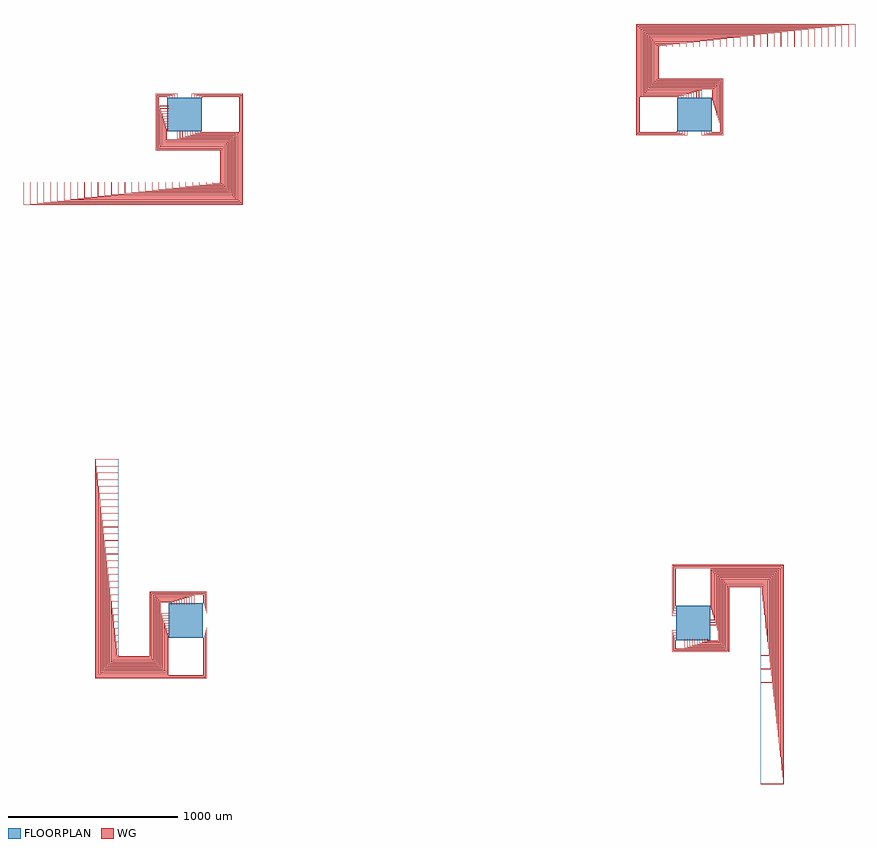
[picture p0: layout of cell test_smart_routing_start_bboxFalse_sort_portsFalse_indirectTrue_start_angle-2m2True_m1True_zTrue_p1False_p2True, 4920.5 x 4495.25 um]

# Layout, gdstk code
import gdstk
lib = gdstk.Library(unit=1e-6, precision=1e-09)
def R(c, l, rs):  # rectangles x0, y0, x1, y1
    for r in rs: c.add(gdstk.rectangle(r[:2], r[2:], *l))
def P(c, l, *ps):  # polygons
    for p in ps: c.add(gdstk.Polygon(p, *l))
WG = (1, 0)
FLOORPLAN = (10, 0)

test_smart_routing_start = lib.new_cell('test_smart_routing_start_bboxFalse_sort_portsFalse_indirectTrue_start_angle-2m2True_m1True_zTrue_p1False_p2True')
P(test_smart_routing_start, WG, [(3049.75,2877.5),(3049.75,2900),(3050.25,2900),(3050.25,2878),(3177.25,2878),(3177.25,3212),(2795.25,3212),(2795.25,3404.5),(2800.25,3404.5),(2800.25,3400),(2799.75,3400),(2799.75,3404),(2795.75,3404),(2795.75,3212.5),(3177.75,3212.5),(3177.75,2877.5)],
  [(3064.75,2882),(3064.75,2900),(3065.25,2900),(3065.25,2882.5),(3172.75,2882.5),(3172.75,3207.5),(2790.75,3207.5),(2790.75,3409),(2840.25,3409),(2840.25,3400),(2839.75,3400),(2839.75,3408.5),(2791.25,3408.5),(2791.25,3208),(3173.25,3208),(3173.25,2882)],
  [(3079.75,2886.5),(3079.75,2900),(3080.25,2900),(3080.25,2887),(3168.25,2887),(3168.25,3203),(2786.25,3203),(2786.25,3413.5),(2880.25,3413.5),(2880.25,3400),(2879.75,3400),(2879.75,3413),(2786.75,3413),(2786.75,3203.5),(3168.75,3203.5),(3168.75,2886.5)],
  [(3094.75,2891),(3094.75,2900),(3095.25,2900),(3095.25,2891.5),(3163.75,2891.5),(3163.75,3198.5),(2781.75,3198.5),(2781.75,3418),(2920.25,3418),(2920.25,3400),(2919.75,3400),(2919.75,3417.5),(2782.25,3417.5),(2782.25,3199),(3164.25,3199),(3164.25,2891)],
  [(3109.75,2895.5),(3109.75,2900),(3110.25,2900),(3110.25,2896),(3159.25,2896),(3159.25,3194),(2777.25,3194),(2777.25,3422.5),(2960.25,3422.5),(2960.25,3400),(2959.75,3400),(2959.75,3422),(2777.75,3422),(2777.75,3194.5),(3159.75,3194.5),(3159.75,2895.5)],
  [(3100,2949.75),(3100,2950.25),(3154.75,2950.25),(3154.75,3189.5),(2772.75,3189.5),(2772.75,3427),(3000.25,3427),(3000.25,3400),(2999.75,3400),(2999.75,3426.5),(2773.25,3426.5),(2773.25,3190),(3155.25,3190),(3155.25,2949.75)],
  [(3100,2964.75),(3100,2965.25),(3150.25,2965.25),(3150.25,3185),(2768.25,3185),(2768.25,3431.5),(3040.25,3431.5),(3040.25,3400),(3039.75,3400),(3039.75,3431),(2768.75,3431),(2768.75,3185.5),(3150.75,3185.5),(3150.75,2964.75)],
  [(3100,2979.75),(3100,2980.25),(3145.75,2980.25),(3145.75,3180.5),(2763.75,3180.5),(2763.75,3436),(3080.25,3436),(3080.25,3400),(3079.75,3400),(3079.75,3435.5),(2764.25,3435.5),(2764.25,3181),(3146.25,3181),(3146.25,2979.75)],
  [(3100,2994.75),(3100,2995.25),(3141.25,2995.25),(3141.25,3176),(2759.25,3176),(2759.25,3440.5),(3120.25,3440.5),(3120.25,3400),(3119.75,3400),(3119.75,3440),(2759.75,3440),(2759.75,3176.5),(3141.75,3176.5),(3141.75,2994.75)],
  [(3100,3009.75),(3100,3010.25),(3136.75,3010.25),(3136.75,3171.5),(2754.75,3171.5),(2754.75,3445),(3160.25,3445),(3160.25,3400),(3159.75,3400),(3159.75,3444.5),(2755.25,3444.5),(2755.25,3172),(3137.25,3172),(3137.25,3009.75)],
  [(3100,3024.75),(3100,3025.25),(3132.25,3025.25),(3132.25,3167),(2750.25,3167),(2750.25,3449.5),(3200.25,3449.5),(3200.25,3400),(3199.75,3400),(3199.75,3449),(2750.75,3449),(2750.75,3167.5),(3132.75,3167.5),(3132.75,3024.75)],
  [(3100,3039.75),(3100,3040.25),(3127.75,3040.25),(3127.75,3162.5),(2745.75,3162.5),(2745.75,3454),(3240.25,3454),(3240.25,3400),(3239.75,3400),(3239.75,3453.5),(2746.25,3453.5),(2746.25,3163),(3128.25,3163),(3128.25,3039.75)],
  [(3100,3054.75),(3100,3055.25),(3123.25,3055.25),(3123.25,3158),(2741.25,3158),(2741.25,3458.5),(3280.25,3458.5),(3280.25,3400),(3279.75,3400),(3279.75,3458),(2741.75,3458),(2741.75,3158.5),(3123.75,3158.5),(3123.75,3054.75)],
  [(3100,3069.75),(3100,3070.25),(3118.75,3070.25),(3118.75,3153.5),(2736.75,3153.5),(2736.75,3463),(3320.25,3463),(3320.25,3400),(3319.75,3400),(3319.75,3462.5),(2737.25,3462.5),(2737.25,3154),(3119.25,3154),(3119.25,3069.75)],
  [(3100,3084.75),(3100,3085.25),(3114.25,3085.25),(3114.25,3149),(2732.25,3149),(2732.25,3467.5),(3360.25,3467.5),(3360.25,3400),(3359.75,3400),(3359.75,3467),(2732.75,3467),(2732.75,3149.5),(3114.75,3149.5),(3114.75,3084.75)],
  [(3049.75,3100),(3049.75,3144.5),(2727.75,3144.5),(2727.75,3472),(3400.25,3472),(3400.25,3400),(3399.75,3400),(3399.75,3471.5),(2728.25,3471.5),(2728.25,3145),(3050.25,3145),(3050.25,3100)],
  [(3034.75,3100),(3034.75,3140),(2723.25,3140),(2723.25,3476.5),(3440.25,3476.5),(3440.25,3400),(3439.75,3400),(3439.75,3476),(2723.75,3476),(2723.75,3140.5),(3035.25,3140.5),(3035.25,3100)],
  [(3019.75,3100),(3019.75,3135.5),(2718.75,3135.5),(2718.75,3481),(3480.25,3481),(3480.25,3400),(3479.75,3400),(3479.75,3480.5),(2719.25,3480.5),(2719.25,3136),(3020.25,3136),(3020.25,3100)],
  [(3004.75,3100),(3004.75,3131),(2714.25,3131),(2714.25,3485.5),(3520.25,3485.5),(3520.25,3400),(3519.75,3400),(3519.75,3485),(2714.75,3485),(2714.75,3131.5),(3005.25,3131.5),(3005.25,3100)],
  [(2989.75,3100),(2989.75,3126.5),(2709.75,3126.5),(2709.75,3490),(3560.25,3490),(3560.25,3400),(3559.75,3400),(3559.75,3489.5),(2710.25,3489.5),(2710.25,3127),(2990.25,3127),(2990.25,3100)],
  [(2974.75,3100),(2974.75,3122),(2705.25,3122),(2705.25,3494.5),(3600.25,3494.5),(3600.25,3400),(3599.75,3400),(3599.75,3494),(2705.75,3494),(2705.75,3122.5),(2975.25,3122.5),(2975.25,3100)],
  [(2959.75,3100),(2959.75,3117.5),(2700.75,3117.5),(2700.75,3499),(3640.25,3499),(3640.25,3400),(3639.75,3400),(3639.75,3498.5),(2701.25,3498.5),(2701.25,3118),(2960.25,3118),(2960.25,3100)],
  [(2944.75,3100),(2944.75,3113),(2696.25,3113),(2696.25,3503.5),(3680.25,3503.5),(3680.25,3400),(3679.75,3400),(3679.75,3503),(2696.75,3503),(2696.75,3113.5),(2945.25,3113.5),(2945.25,3100)],
  [(2929.75,3100),(2929.75,3108.5),(2691.75,3108.5),(2691.75,3508),(3720.25,3508),(3720.25,3400),(3719.75,3400),(3719.75,3507.5),(2692.25,3507.5),(2692.25,3109),(2930.25,3109),(2930.25,3100)],
  [(2914.75,3100),(2914.75,3104),(2687.25,3104),(2687.25,3512.5),(3760.25,3512.5),(3760.25,3400),(3759.75,3400),(3759.75,3512),(2687.75,3512),(2687.75,3104.5),(2915.25,3104.5),(2915.25,3100)],
  [(2664.75,2877.5),(2664.75,3535),(3960.25,3535),(3960.25,3400),(3959.75,3400),(3959.75,3534.5),(2665.25,3534.5),(2665.25,2878),(2964.75,2878),(2964.75,2900),(2965.25,2900),(2965.25,2877.5)],
  [(2669.25,2882),(2669.25,3530.5),(3920.25,3530.5),(3920.25,3400),(3919.75,3400),(3919.75,3530),(2669.75,3530),(2669.75,2882.5),(2949.75,2882.5),(2949.75,2900),(2950.25,2900),(2950.25,2882)],
  [(2673.75,2886.5),(2673.75,3526),(3880.25,3526),(3880.25,3400),(3879.75,3400),(3879.75,3525.5),(2674.25,3525.5),(2674.25,2887),(2934.75,2887),(2934.75,2900),(2935.25,2900),(2935.25,2886.5)],
  [(2678.25,2891),(2678.25,3521.5),(3840.25,3521.5),(3840.25,3400),(3839.75,3400),(3839.75,3521),(2678.75,3521),(2678.75,2891.5),(2919.75,2891.5),(2919.75,2900),(2920.25,2900),(2920.25,2891)],
  [(2682.75,2895.5),(2682.75,3517),(3800.25,3517),(3800.25,3400),(3799.75,3400),(3799.75,3516.5),(2683.25,3516.5),(2683.25,2896),(2904.75,2896),(2904.75,2900),(2905.25,2900),(2905.25,2895.5)],
  [(199.75,2595.5),(199.75,2600),(200.25,2600),(200.25,2596),(204.25,2596),(204.25,2787.5),(-177.75,2787.5),(-177.75,3122.5),(-49.75,3122.5),(-49.75,3100),(-50.25,3100),(-50.25,3122),(-177.25,3122),(-177.25,2788),(204.75,2788),(204.75,2595.5)],
  [(159.75,2591),(159.75,2600),(160.25,2600),(160.25,2591.5),(208.75,2591.5),(208.75,2792),(-173.25,2792),(-173.25,3118),(-64.75,3118),(-64.75,3100),(-65.25,3100),(-65.25,3117.5),(-172.75,3117.5),(-172.75,2792.5),(209.25,2792.5),(209.25,2591)],
  [(119.75,2586.5),(119.75,2600),(120.25,2600),(120.25,2587),(213.25,2587),(213.25,2796.5),(-168.75,2796.5),(-168.75,3113.5),(-79.75,3113.5),(-79.75,3100),(-80.25,3100),(-80.25,3113),(-168.25,3113),(-168.25,2797),(213.75,2797),(213.75,2586.5)],
  [(79.75,2582),(79.75,2600),(80.25,2600),(80.25,2582.5),(217.75,2582.5),(217.75,2801),(-164.25,2801),(-164.25,3109),(-94.75,3109),(-94.75,3100),(-95.25,3100),(-95.25,3108.5),(-163.75,3108.5),(-163.75,2801.5),(218.25,2801.5),(218.25,2582)],
  [(39.75,2577.5),(39.75,2600),(40.25,2600),(40.25,2578),(222.25,2578),(222.25,2805.5),(-159.75,2805.5),(-159.75,3104.5),(-109.75,3104.5),(-109.75,3100),(-110.25,3100),(-110.25,3104),(-159.25,3104),(-159.25,2806),(222.75,2806),(222.75,2577.5)],
  [(-0.25,2573),(-0.25,2600),(0.25,2600),(0.25,2573.5),(226.75,2573.5),(226.75,2810),(-155.25,2810),(-155.25,3050.25),(-100,3050.25),(-100,3049.75),(-154.75,3049.75),(-154.75,2810.5),(227.25,2810.5),(227.25,2573)],
  [(-40.25,2568.5),(-40.25,2600),(-39.75,2600),(-39.75,2569),(231.25,2569),(231.25,2814.5),(-150.75,2814.5),(-150.75,3035.25),(-100,3035.25),(-100,3034.75),(-150.25,3034.75),(-150.25,2815),(231.75,2815),(231.75,2568.5)],
  [(-80.25,2564),(-80.25,2600),(-79.75,2600),(-79.75,2564.5),(235.75,2564.5),(235.75,2819),(-146.25,2819),(-146.25,3020.25),(-100,3020.25),(-100,3019.75),(-145.75,3019.75),(-145.75,2819.5),(236.25,2819.5),(236.25,2564)],
  [(-120.25,2559.5),(-120.25,2600),(-119.75,2600),(-119.75,2560),(240.25,2560),(240.25,2823.5),(-141.75,2823.5),(-141.75,3005.25),(-100,3005.25),(-100,3004.75),(-141.25,3004.75),(-141.25,2824),(240.75,2824),(240.75,2559.5)],
  [(-160.25,2555),(-160.25,2600),(-159.75,2600),(-159.75,2555.5),(244.75,2555.5),(244.75,2828),(-137.25,2828),(-137.25,2990.25),(-100,2990.25),(-100,2989.75),(-136.75,2989.75),(-136.75,2828.5),(245.25,2828.5),(245.25,2555)],
  [(-200.25,2550.5),(-200.25,2600),(-199.75,2600),(-199.75,2551),(249.25,2551),(249.25,2832.5),(-132.75,2832.5),(-132.75,2975.25),(-100,2975.25),(-100,2974.75),(-132.25,2974.75),(-132.25,2833),(249.75,2833),(249.75,2550.5)],
  [(-240.25,2546),(-240.25,2600),(-239.75,2600),(-239.75,2546.5),(253.75,2546.5),(253.75,2837),(-128.25,2837),(-128.25,2960.25),(-100,2960.25),(-100,2959.75),(-127.75,2959.75),(-127.75,2837.5),(254.25,2837.5),(254.25,2546)],
  [(-280.25,2541.5),(-280.25,2600),(-279.75,2600),(-279.75,2542),(258.25,2542),(258.25,2841.5),(-123.75,2841.5),(-123.75,2945.25),(-100,2945.25),(-100,2944.75),(-123.25,2944.75),(-123.25,2842),(258.75,2842),(258.75,2541.5)],
  [(-320.25,2537),(-320.25,2600),(-319.75,2600),(-319.75,2537.5),(262.75,2537.5),(262.75,2846),(-119.25,2846),(-119.25,2930.25),(-100,2930.25),(-100,2929.75),(-118.75,2929.75),(-118.75,2846.5),(263.25,2846.5),(263.25,2537)],
  [(-360.25,2532.5),(-360.25,2600),(-359.75,2600),(-359.75,2533),(267.25,2533),(267.25,2850.5),(-114.75,2850.5),(-114.75,2915.25),(-100,2915.25),(-100,2914.75),(-114.25,2914.75),(-114.25,2851),(267.75,2851),(267.75,2532.5)],
  [(-400.25,2528),(-400.25,2600),(-399.75,2600),(-399.75,2528.5),(271.75,2528.5),(271.75,2855),(-50.25,2855),(-50.25,2900),(-49.75,2900),(-49.75,2855.5),(272.25,2855.5),(272.25,2528)],
  [(-440.25,2523.5),(-440.25,2600),(-439.75,2600),(-439.75,2524),(276.25,2524),(276.25,2859.5),(-35.25,2859.5),(-35.25,2900),(-34.75,2900),(-34.75,2860),(276.75,2860),(276.75,2523.5)],
  [(-480.25,2519),(-480.25,2600),(-479.75,2600),(-479.75,2519.5),(280.75,2519.5),(280.75,2864),(-20.25,2864),(-20.25,2900),(-19.75,2900),(-19.75,2864.5),(281.25,2864.5),(281.25,2519)],
  [(-520.25,2514.5),(-520.25,2600),(-519.75,2600),(-519.75,2515),(285.25,2515),(285.25,2868.5),(-5.25,2868.5),(-5.25,2900),(-4.75,2900),(-4.75,2869),(285.75,2869),(285.75,2514.5)],
  [(-560.25,2510),(-560.25,2600),(-559.75,2600),(-559.75,2510.5),(289.75,2510.5),(289.75,2873),(9.75,2873),(9.75,2900),(10.25,2900),(10.25,2873.5),(290.25,2873.5),(290.25,2510)],
  [(-600.25,2505.5),(-600.25,2600),(-599.75,2600),(-599.75,2506),(294.25,2506),(294.25,2877.5),(24.75,2877.5),(24.75,2900),(25.25,2900),(25.25,2878),(294.75,2878),(294.75,2505.5)],
  [(-640.25,2501),(-640.25,2600),(-639.75,2600),(-639.75,2501.5),(298.75,2501.5),(298.75,2882),(39.75,2882),(39.75,2900),(40.25,2900),(40.25,2882.5),(299.25,2882.5),(299.25,2501)],
  [(-680.25,2496.5),(-680.25,2600),(-679.75,2600),(-679.75,2497),(303.25,2497),(303.25,2886.5),(54.75,2886.5),(54.75,2900),(55.25,2900),(55.25,2887),(303.75,2887),(303.75,2496.5)],
  [(-720.25,2492),(-720.25,2600),(-719.75,2600),(-719.75,2492.5),(307.75,2492.5),(307.75,2891),(69.75,2891),(69.75,2900),(70.25,2900),(70.25,2891.5),(308.25,2891.5),(308.25,2492)],
  [(-760.25,2487.5),(-760.25,2600),(-759.75,2600),(-759.75,2488),(312.25,2488),(312.25,2895.5),(84.75,2895.5),(84.75,2900),(85.25,2900),(85.25,2896),(312.75,2896),(312.75,2487.5)],
  [(-960.25,2465),(-960.25,2600),(-959.75,2600),(-959.75,2465.5),(334.75,2465.5),(334.75,3122),(35.25,3122),(35.25,3100),(34.75,3100),(34.75,3122.5),(335.25,3122.5),(335.25,2465)],
  [(-920.25,2469.5),(-920.25,2600),(-919.75,2600),(-919.75,2470),(330.25,2470),(330.25,3117.5),(50.25,3117.5),(50.25,3100),(49.75,3100),(49.75,3118),(330.75,3118),(330.75,2469.5)],
  [(-880.25,2474),(-880.25,2600),(-879.75,2600),(-879.75,2474.5),(325.75,2474.5),(325.75,3113),(65.25,3113),(65.25,3100),(64.75,3100),(64.75,3113.5),(326.25,3113.5),(326.25,2474)],
  [(-840.25,2478.5),(-840.25,2600),(-839.75,2600),(-839.75,2479),(321.25,2479),(321.25,3108.5),(80.25,3108.5),(80.25,3100),(79.75,3100),(79.75,3109),(321.75,3109),(321.75,2478.5)],
  [(-800.25,2483),(-800.25,2600),(-799.75,2600),(-799.75,2483.5),(316.75,2483.5),(316.75,3104),(95.25,3104),(95.25,3100),(94.75,3100),(94.75,3104.5),(317.25,3104.5),(317.25,2483)],
  [(-404.5,-204.75),(-404.5,-199.75),(-400,-199.75),(-400,-200.25),(-404,-200.25),(-404,-204.25),(-212.5,-204.25),(-212.5,177.75),(122.5,177.75),(122.5,49.75),(100,49.75),(100,50.25),(122,50.25),(122,177.25),(-212,177.25),(-212,-204.75)],
  [(-409,-209.25),(-409,-159.75),(-400,-159.75),(-400,-160.25),(-408.5,-160.25),(-408.5,-208.75),(-208,-208.75),(-208,173.25),(118,173.25),(118,64.75),(100,64.75),(100,65.25),(117.5,65.25),(117.5,172.75),(-207.5,172.75),(-207.5,-209.25)],
  [(-413.5,-213.75),(-413.5,-119.75),(-400,-119.75),(-400,-120.25),(-413,-120.25),(-413,-213.25),(-203.5,-213.25),(-203.5,168.75),(113.5,168.75),(113.5,79.75),(100,79.75),(100,80.25),(113,80.25),(113,168.25),(-203,168.25),(-203,-213.75)],
  [(-418,-218.25),(-418,-79.75),(-400,-79.75),(-400,-80.25),(-417.5,-80.25),(-417.5,-217.75),(-199,-217.75),(-199,164.25),(109,164.25),(109,94.75),(100,94.75),(100,95.25),(108.5,95.25),(108.5,163.75),(-198.5,163.75),(-198.5,-218.25)],
  [(-422.5,-222.75),(-422.5,-39.75),(-400,-39.75),(-400,-40.25),(-422,-40.25),(-422,-222.25),(-194.5,-222.25),(-194.5,159.75),(104.5,159.75),(104.5,109.75),(100,109.75),(100,110.25),(104,110.25),(104,159.25),(-194,159.25),(-194,-222.75)],
  [(-427,-227.25),(-427,0.25),(-400,0.25),(-400,-0.25),(-426.5,-0.25),(-426.5,-226.75),(-190,-226.75),(-190,155.25),(50.25,155.25),(50.25,100),(49.75,100),(49.75,154.75),(-189.5,154.75),(-189.5,-227.25)],
  [(-431.5,-231.75),(-431.5,40.25),(-400,40.25),(-400,39.75),(-431,39.75),(-431,-231.25),(-185.5,-231.25),(-185.5,150.75),(35.25,150.75),(35.25,100),(34.75,100),(34.75,150.25),(-185,150.25),(-185,-231.75)],
  [(-436,-236.25),(-436,80.25),(-400,80.25),(-400,79.75),(-435.5,79.75),(-435.5,-235.75),(-181,-235.75),(-181,146.25),(20.25,146.25),(20.25,100),(19.75,100),(19.75,145.75),(-180.5,145.75),(-180.5,-236.25)],
  [(-440.5,-240.75),(-440.5,120.25),(-400,120.25),(-400,119.75),(-440,119.75),(-440,-240.25),(-176.5,-240.25),(-176.5,141.75),(5.25,141.75),(5.25,100),(4.75,100),(4.75,141.25),(-176,141.25),(-176,-240.75)],
  [(-445,-245.25),(-445,160.25),(-400,160.25),(-400,159.75),(-444.5,159.75),(-444.5,-244.75),(-172,-244.75),(-172,137.25),(-9.75,137.25),(-9.75,100),(-10.25,100),(-10.25,136.75),(-171.5,136.75),(-171.5,-245.25)],
  [(-449.5,-249.75),(-449.5,200.25),(-400,200.25),(-400,199.75),(-449,199.75),(-449,-249.25),(-167.5,-249.25),(-167.5,132.75),(-24.75,132.75),(-24.75,100),(-25.25,100),(-25.25,132.25),(-167,132.25),(-167,-249.75)],
  [(-454,-254.25),(-454,240.25),(-400,240.25),(-400,239.75),(-453.5,239.75),(-453.5,-253.75),(-163,-253.75),(-163,128.25),(-39.75,128.25),(-39.75,100),(-40.25,100),(-40.25,127.75),(-162.5,127.75),(-162.5,-254.25)],
  [(-458.5,-258.75),(-458.5,280.25),(-400,280.25),(-400,279.75),(-458,279.75),(-458,-258.25),(-158.5,-258.25),(-158.5,123.75),(-54.75,123.75),(-54.75,100),(-55.25,100),(-55.25,123.25),(-158,123.25),(-158,-258.75)],
  [(-463,-263.25),(-463,320.25),(-400,320.25),(-400,319.75),(-462.5,319.75),(-462.5,-262.75),(-154,-262.75),(-154,119.25),(-69.75,119.25),(-69.75,100),(-70.25,100),(-70.25,118.75),(-153.5,118.75),(-153.5,-263.25)],
  [(-467.5,-267.75),(-467.5,360.25),(-400,360.25),(-400,359.75),(-467,359.75),(-467,-267.25),(-149.5,-267.25),(-149.5,114.75),(-84.75,114.75),(-84.75,100),(-85.25,100),(-85.25,114.25),(-149,114.25),(-149,-267.75)],
  [(-472,-272.25),(-472,400.25),(-400,400.25),(-400,399.75),(-471.5,399.75),(-471.5,-271.75),(-145,-271.75),(-145,50.25),(-100,50.25),(-100,49.75),(-144.5,49.75),(-144.5,-272.25)],
  [(-476.5,-276.75),(-476.5,440.25),(-400,440.25),(-400,439.75),(-476,439.75),(-476,-276.25),(-140.5,-276.25),(-140.5,35.25),(-100,35.25),(-100,34.75),(-140,34.75),(-140,-276.75)],
  [(-481,-281.25),(-481,480.25),(-400,480.25),(-400,479.75),(-480.5,479.75),(-480.5,-280.75),(-136,-280.75),(-136,20.25),(-100,20.25),(-100,19.75),(-135.5,19.75),(-135.5,-281.25)],
  [(-485.5,-285.75),(-485.5,520.25),(-400,520.25),(-400,519.75),(-485,519.75),(-485,-285.25),(-131.5,-285.25),(-131.5,5.25),(-100,5.25),(-100,4.75),(-131,4.75),(-131,-285.75)],
  [(-490,-290.25),(-490,560.25),(-400,560.25),(-400,559.75),(-489.5,559.75),(-489.5,-289.75),(-127,-289.75),(-127,-9.75),(-100,-9.75),(-100,-10.25),(-126.5,-10.25),(-126.5,-290.25)],
  [(-494.5,-294.75),(-494.5,600.25),(-400,600.25),(-400,599.75),(-494,599.75),(-494,-294.25),(-122.5,-294.25),(-122.5,-24.75),(-100,-24.75),(-100,-25.25),(-122,-25.25),(-122,-294.75)],
  [(-499,-299.25),(-499,640.25),(-400,640.25),(-400,639.75),(-498.5,639.75),(-498.5,-298.75),(-118,-298.75),(-118,-39.75),(-100,-39.75),(-100,-40.25),(-117.5,-40.25),(-117.5,-299.25)],
  [(-503.5,-303.75),(-503.5,680.25),(-400,680.25),(-400,679.75),(-503,679.75),(-503,-303.25),(-113.5,-303.25),(-113.5,-54.75),(-100,-54.75),(-100,-55.25),(-113,-55.25),(-113,-303.75)],
  [(-508,-308.25),(-508,720.25),(-400,720.25),(-400,719.75),(-507.5,719.75),(-507.5,-307.75),(-109,-307.75),(-109,-69.75),(-100,-69.75),(-100,-70.25),(-108.5,-70.25),(-108.5,-308.25)],
  [(-512.5,-312.75),(-512.5,760.25),(-400,760.25),(-400,759.75),(-512,759.75),(-512,-312.25),(-104.5,-312.25),(-104.5,-84.75),(-100,-84.75),(-100,-85.25),(-104,-85.25),(-104,-312.75)],
  [(-535,-335.25),(-535,960.25),(-400,960.25),(-400,959.75),(-534.5,959.75),(-534.5,-334.75),(122,-334.75),(122,-35.25),(100,-35.25),(100,-34.75),(122.5,-34.75),(122.5,-335.25)],
  [(-530.5,-330.75),(-530.5,920.25),(-400,920.25),(-400,919.75),(-530,919.75),(-530,-330.25),(117.5,-330.25),(117.5,-50.25),(100,-50.25),(100,-49.75),(118,-49.75),(118,-330.75)],
  [(-526,-326.25),(-526,880.25),(-400,880.25),(-400,879.75),(-525.5,879.75),(-525.5,-325.75),(113,-325.75),(113,-65.25),(100,-65.25),(100,-64.75),(113.5,-64.75),(113.5,-326.25)],
  [(-521.5,-321.75),(-521.5,840.25),(-400,840.25),(-400,839.75),(-521,839.75),(-521,-321.25),(108.5,-321.25),(108.5,-80.25),(100,-80.25),(100,-79.75),(109,-79.75),(109,-321.75)],
  [(-517,-317.25),(-517,800.25),(-400,800.25),(-400,799.75),(-516.5,799.75),(-516.5,-316.75),(104,-316.75),(104,-95.25),(100,-95.25),(100,-94.75),(104.5,-94.75),(104.5,-317.25)],
  [(2877.5,-177.75),(2877.5,-49.75),(2900,-49.75),(2900,-50.25),(2878,-50.25),(2878,-177.25),(3212,-177.25),(3212,204.75),(3404.5,204.75),(3404.5,199.75),(3400,199.75),(3400,200.25),(3404,200.25),(3404,204.25),(3212.5,204.25),(3212.5,-177.75)],
  [(2882,-173.25),(2882,-64.75),(2900,-64.75),(2900,-65.25),(2882.5,-65.25),(2882.5,-172.75),(3207.5,-172.75),(3207.5,209.25),(3409,209.25),(3409,159.75),(3400,159.75),(3400,160.25),(3408.5,160.25),(3408.5,208.75),(3208,208.75),(3208,-173.25)],
  [(2886.5,-168.75),(2886.5,-79.75),(2900,-79.75),(2900,-80.25),(2887,-80.25),(2887,-168.25),(3203,-168.25),(3203,213.75),(3413.5,213.75),(3413.5,119.75),(3400,119.75),(3400,120.25),(3413,120.25),(3413,213.25),(3203.5,213.25),(3203.5,-168.75)],
  [(2891,-164.25),(2891,-94.75),(2900,-94.75),(2900,-95.25),(2891.5,-95.25),(2891.5,-163.75),(3198.5,-163.75),(3198.5,218.25),(3418,218.25),(3418,79.75),(3400,79.75),(3400,80.25),(3417.5,80.25),(3417.5,217.75),(3199,217.75),(3199,-164.25)],
  [(2895.5,-159.75),(2895.5,-109.75),(2900,-109.75),(2900,-110.25),(2896,-110.25),(2896,-159.25),(3194,-159.25),(3194,222.75),(3422.5,222.75),(3422.5,39.75),(3400,39.75),(3400,40.25),(3422,40.25),(3422,222.25),(3194.5,222.25),(3194.5,-159.75)],
  [(2949.75,-155.25),(2949.75,-100),(2950.25,-100),(2950.25,-154.75),(3189.5,-154.75),(3189.5,227.25),(3427,227.25),(3427,-0.25),(3400,-0.25),(3400,0.25),(3426.5,0.25),(3426.5,226.75),(3190,226.75),(3190,-155.25)],
  [(2964.75,-150.75),(2964.75,-100),(2965.25,-100),(2965.25,-150.25),(3185,-150.25),(3185,231.75),(3431.5,231.75),(3431.5,-40.25),(3400,-40.25),(3400,-39.75),(3431,-39.75),(3431,231.25),(3185.5,231.25),(3185.5,-150.75)],
  [(2979.75,-146.25),(2979.75,-100),(2980.25,-100),(2980.25,-145.75),(3180.5,-145.75),(3180.5,236.25),(3436,236.25),(3436,-80.25),(3400,-80.25),(3400,-79.75),(3435.5,-79.75),(3435.5,235.75),(3181,235.75),(3181,-146.25)],
  [(2994.75,-141.75),(2994.75,-100),(2995.25,-100),(2995.25,-141.25),(3176,-141.25),(3176,240.75),(3440.5,240.75),(3440.5,-120.25),(3400,-120.25),(3400,-119.75),(3440,-119.75),(3440,240.25),(3176.5,240.25),(3176.5,-141.75)],
  [(3400,-160.25),(3400,-159.75),(3444.5,-159.75),(3444.5,244.75),(3172,244.75),(3172,-137.25),(3009.75,-137.25),(3009.75,-100),(3010.25,-100),(3010.25,-136.75),(3171.5,-136.75),(3171.5,245.25),(3445,245.25),(3445,-160.25)],
  [(3400,-200.25),(3400,-199.75),(3449,-199.75),(3449,249.25),(3167.5,249.25),(3167.5,-132.75),(3024.75,-132.75),(3024.75,-100),(3025.25,-100),(3025.25,-132.25),(3167,-132.25),(3167,249.75),(3449.5,249.75),(3449.5,-200.25)],
  [(3400,-240.25),(3400,-239.75),(3453.5,-239.75),(3453.5,253.75),(3163,253.75),(3163,-128.25),(3039.75,-128.25),(3039.75,-100),(3040.25,-100),(3040.25,-127.75),(3162.5,-127.75),(3162.5,254.25),(3454,254.25),(3454,-240.25)],
  [(3400,-280.25),(3400,-279.75),(3458,-279.75),(3458,258.25),(3158.5,258.25),(3158.5,-123.75),(3054.75,-123.75),(3054.75,-100),(3055.25,-100),(3055.25,-123.25),(3158,-123.25),(3158,258.75),(3458.5,258.75),(3458.5,-280.25)],
  [(3400,-320.25),(3400,-319.75),(3462.5,-319.75),(3462.5,262.75),(3154,262.75),(3154,-119.25),(3069.75,-119.25),(3069.75,-100),(3070.25,-100),(3070.25,-118.75),(3153.5,-118.75),(3153.5,263.25),(3463,263.25),(3463,-320.25)],
  [(3400,-360.25),(3400,-359.75),(3467,-359.75),(3467,267.25),(3149.5,267.25),(3149.5,-114.75),(3084.75,-114.75),(3084.75,-100),(3085.25,-100),(3085.25,-114.25),(3149,-114.25),(3149,267.75),(3467.5,267.75),(3467.5,-360.25)],
  [(3400,-400.25),(3400,-399.75),(3471.5,-399.75),(3471.5,271.75),(3145,271.75),(3145,-50.25),(3100,-50.25),(3100,-49.75),(3144.5,-49.75),(3144.5,272.25),(3472,272.25),(3472,-400.25)],
  [(3400,-440.25),(3400,-439.75),(3476,-439.75),(3476,276.25),(3140.5,276.25),(3140.5,-35.25),(3100,-35.25),(3100,-34.75),(3140,-34.75),(3140,276.75),(3476.5,276.75),(3476.5,-440.25)],
  [(3400,-480.25),(3400,-479.75),(3480.5,-479.75),(3480.5,280.75),(3136,280.75),(3136,-20.25),(3100,-20.25),(3100,-19.75),(3135.5,-19.75),(3135.5,281.25),(3481,281.25),(3481,-480.25)],
  [(3400,-520.25),(3400,-519.75),(3485,-519.75),(3485,285.25),(3131.5,285.25),(3131.5,-5.25),(3100,-5.25),(3100,-4.75),(3131,-4.75),(3131,285.75),(3485.5,285.75),(3485.5,-520.25)],
  [(3400,-560.25),(3400,-559.75),(3489.5,-559.75),(3489.5,289.75),(3127,289.75),(3127,9.75),(3100,9.75),(3100,10.25),(3126.5,10.25),(3126.5,290.25),(3490,290.25),(3490,-560.25)],
  [(3400,-600.25),(3400,-599.75),(3494,-599.75),(3494,294.25),(3122.5,294.25),(3122.5,24.75),(3100,24.75),(3100,25.25),(3122,25.25),(3122,294.75),(3494.5,294.75),(3494.5,-600.25)],
  [(3400,-640.25),(3400,-639.75),(3498.5,-639.75),(3498.5,298.75),(3118,298.75),(3118,39.75),(3100,39.75),(3100,40.25),(3117.5,40.25),(3117.5,299.25),(3499,299.25),(3499,-640.25)],
  [(3400,-680.25),(3400,-679.75),(3503,-679.75),(3503,303.25),(3113.5,303.25),(3113.5,54.75),(3100,54.75),(3100,55.25),(3113,55.25),(3113,303.75),(3503.5,303.75),(3503.5,-680.25)],
  [(3400,-720.25),(3400,-719.75),(3507.5,-719.75),(3507.5,307.75),(3109,307.75),(3109,69.75),(3100,69.75),(3100,70.25),(3108.5,70.25),(3108.5,308.25),(3508,308.25),(3508,-720.25)],
  [(3400,-760.25),(3400,-759.75),(3512,-759.75),(3512,312.25),(3104.5,312.25),(3104.5,84.75),(3100,84.75),(3100,85.25),(3104,85.25),(3104,312.75),(3512.5,312.75),(3512.5,-760.25)],
  [(3400,-960.25),(3400,-959.75),(3534.5,-959.75),(3534.5,334.75),(2878,334.75),(2878,35.25),(2900,35.25),(2900,34.75),(2877.5,34.75),(2877.5,335.25),(3535,335.25),(3535,-960.25)],
  [(3400,-920.25),(3400,-919.75),(3530,-919.75),(3530,330.25),(2882.5,330.25),(2882.5,50.25),(2900,50.25),(2900,49.75),(2882,49.75),(2882,330.75),(3530.5,330.75),(3530.5,-920.25)],
  [(3400,-880.25),(3400,-879.75),(3525.5,-879.75),(3525.5,325.75),(2887,325.75),(2887,65.25),(2900,65.25),(2900,64.75),(2886.5,64.75),(2886.5,326.25),(3526,326.25),(3526,-880.25)],
  [(3400,-840.25),(3400,-839.75),(3521,-839.75),(3521,321.25),(2891.5,321.25),(2891.5,80.25),(2900,80.25),(2900,79.75),(2891,79.75),(2891,321.75),(3521.5,321.75),(3521.5,-840.25)],
  [(3400,-800.25),(3400,-799.75),(3516.5,-799.75),(3516.5,316.75),(2896,316.75),(2896,95.25),(2900,95.25),(2900,94.75),(2895.5,94.75),(2895.5,317.25),(3517,317.25),(3517,-800.25)])
R(test_smart_routing_start, FLOORPLAN, [(2900,-110,3100,95), (-100,-95,100,110), (-110,2900,95,3100), (2905,2900,3110,3100)])
P(test_smart_routing_start, FLOORPLAN, [(-400,-200),(-400,960),(-400,960),(-400,-200)],
  [(-960,2600),(-960,2600),(200,2600),(200,2600)],
  [(3400,-960),(3400,200),(3400,200),(3400,-960)],
  [(2800,3400),(2800,3400),(3960,3400),(3960,3400)])

lib.write_gds('test_smart_routing_start_bboxFalse_sort_portsFalse_indirectTrue_start_angle-2m2True_m1True_zTrue_p1False_p2True.gds')
